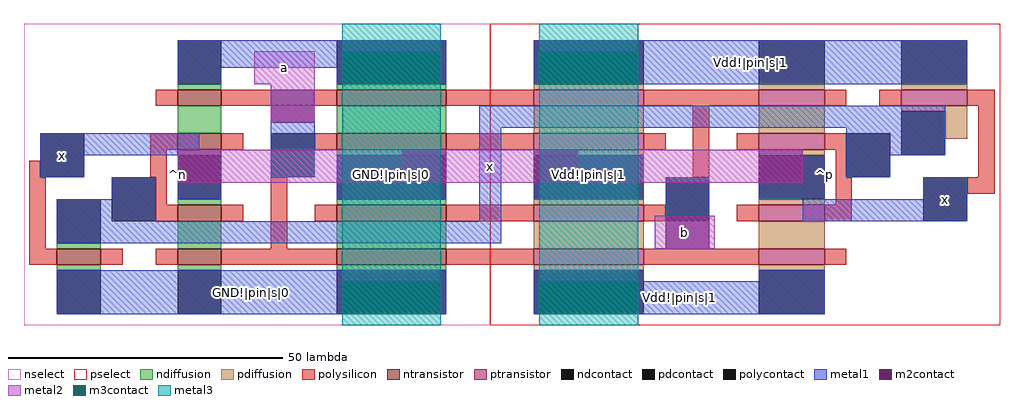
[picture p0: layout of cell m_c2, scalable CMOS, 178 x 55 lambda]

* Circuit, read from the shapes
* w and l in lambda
.subckt m_c2 GND!|pin|s|0 Vdd!|pin|s|1 a b x
M1 n1 x GND!|pin|s|0 VSUBS nfet w=8 l=3
M2 n2 a GND!|pin|s|0 VSUBS nfet w=8 l=3
M3 x n1 n2 VSUBS nfet w=8 l=3
M4 n3 n1 x VSUBS nfet w=8 l=3
M5 GND!|pin|s|0 b n3 VSUBS nfet w=8 l=3
M6 n4 a GND!|pin|s|0 VSUBS nfet w=20 l=3
M7 x b n4 VSUBS nfet w=20 l=3
M8 n5 a x VSUBS nfet w=20 l=3
M9 GND!|pin|s|0 b n5 VSUBS nfet w=20 l=3
M10 n6 a Vdd!|pin|s|1 NWELL pfet w=20 l=3
M11 x b n6 NWELL pfet w=20 l=3
M12 n7 a x NWELL pfet w=20 l=3
M13 Vdd!|pin|s|1 b n7 NWELL pfet w=20 l=3
M14 n8 a Vdd!|pin|s|1 NWELL pfet w=12 l=3
M15 x n1 n8 NWELL pfet w=12 l=3
M16 n9 n1 x NWELL pfet w=12 l=3
M17 Vdd!|pin|s|1 b n9 NWELL pfet w=12 l=3
M18 Vdd!|pin|s|1 x n1 NWELL pfet w=12 l=3
.ends

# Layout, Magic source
magic
tech scmos
<< nselect >>
rect -85 314 0 369
<< pselect >>
rect 0 314 93 369
<< ndiffusion >>
rect -57 357 -49 358
rect -28 357 -8 358
rect -57 349 -49 354
rect -28 349 -8 354
rect -57 345 -49 346
rect -57 336 -49 337
rect -28 345 -8 346
rect -79 328 -71 329
rect -57 328 -49 333
rect -28 336 -8 337
rect -28 328 -8 333
rect -79 324 -71 325
rect -57 324 -49 325
rect -28 324 -8 325
<< pdiffusion >>
rect 8 357 28 358
rect 49 357 61 358
rect 75 357 87 358
rect 8 349 28 354
rect 8 345 28 346
rect 49 349 61 354
rect 75 353 87 354
rect 8 336 28 337
rect 49 345 61 346
rect 49 336 61 337
rect 83 348 87 353
rect 8 328 28 333
rect 49 328 61 333
rect 8 324 28 325
rect 49 324 61 325
<< ntransistor >>
rect -57 354 -49 357
rect -28 354 -8 357
rect -57 346 -49 349
rect -28 346 -8 349
rect -57 333 -49 336
rect -28 333 -8 336
rect -79 325 -71 328
rect -57 325 -49 328
rect -28 325 -8 328
<< ptransistor >>
rect 8 354 28 357
rect 49 354 61 357
rect 75 354 87 357
rect 8 346 28 349
rect 49 346 61 349
rect 8 333 28 336
rect 49 333 61 336
rect 8 325 28 328
rect 49 325 61 328
<< polysilicon >>
rect -61 354 -57 357
rect -49 354 -28 357
rect -8 354 8 357
rect 28 354 49 357
rect 61 354 65 357
rect 71 354 75 357
rect 87 354 92 357
rect -84 341 -82 344
rect -62 346 -57 349
rect -49 346 -45 349
rect -62 341 -59 346
rect -84 328 -81 341
rect -61 336 -59 341
rect -32 346 -28 349
rect -8 346 8 349
rect 28 346 32 349
rect -61 333 -57 336
rect -49 333 -45 336
rect -40 328 -37 341
rect 37 341 40 354
rect 45 346 49 349
rect 61 346 65 349
rect -32 333 -28 336
rect -8 333 8 336
rect 28 333 32 336
rect 63 341 65 346
rect 89 341 92 354
rect 63 336 66 341
rect 45 333 49 336
rect 61 333 66 336
rect 87 338 92 341
rect -84 325 -79 328
rect -71 325 -67 328
rect -61 325 -57 328
rect -49 325 -28 328
rect -8 325 8 328
rect 28 325 49 328
rect 61 325 65 328
<< ndcontact >>
rect -57 358 -49 366
rect -28 358 -8 366
rect -79 329 -71 337
rect -57 337 -49 345
rect -28 337 -8 345
rect -79 316 -71 324
rect -57 316 -49 324
rect -28 316 -8 324
<< pdcontact >>
rect 8 358 28 366
rect 49 358 61 366
rect 75 358 87 366
rect 8 337 28 345
rect 49 337 61 345
rect 75 345 83 353
rect 8 316 28 324
rect 49 316 61 324
<< polycontact >>
rect -82 341 -74 349
rect -69 333 -61 341
rect -40 341 -32 349
rect 32 333 40 341
rect 65 341 73 349
rect 79 333 87 341
<< metal1 >>
rect -57 364 -8 366
rect -57 361 -27 364
rect -57 358 -49 361
rect -28 358 -27 361
rect -9 358 -8 364
rect 8 364 87 366
rect 8 358 9 364
rect 27 358 87 364
rect -82 346 -53 349
rect -82 345 -57 346
rect -82 341 -74 345
rect -69 337 -61 341
rect -40 341 -32 351
rect -2 350 83 354
rect -57 337 -49 340
rect -28 340 -16 345
rect -28 337 -8 340
rect -79 333 -61 337
rect -2 333 2 350
rect 16 340 28 345
rect 8 337 28 340
rect -79 329 2 333
rect 32 334 40 341
rect 65 345 83 350
rect 57 340 61 345
rect 65 341 73 345
rect 49 337 61 340
rect 79 337 87 341
rect 57 333 87 337
rect -79 322 -8 324
rect -79 316 -27 322
rect -9 316 -8 322
rect 8 322 28 324
rect 49 322 61 324
rect 8 316 9 322
rect 27 316 61 322
<< m2contact >>
rect -27 358 -9 364
rect 9 358 27 364
rect -40 351 -32 357
rect -57 340 -49 346
rect -16 340 -8 346
rect 8 340 16 346
rect 49 340 57 346
rect 32 328 40 334
rect -27 316 -9 322
rect 9 316 27 322
<< metal2 >>
rect -43 358 -32 364
rect -40 351 -32 358
rect -57 340 57 346
rect 30 328 41 334
<< m3contact >>
rect -27 358 -9 364
rect 9 358 27 364
rect -27 316 -9 322
rect 9 316 27 322
<< metal3 >>
rect -27 314 -9 369
rect 9 314 27 369
<< labels >>
rlabel metal1 -78 345 -78 345 3 x
rlabel metal1 83 337 83 337 5 x
rlabel metal2 -57 340 57 346 1 x
rlabel metal2 -43 358 -32 364 1 a
rlabel metal2 30 328 41 334 1 b
rlabel space -86 314 -28 369 7 ^n
rlabel space 28 314 94 369 3 ^p
rlabel metal3 -27 314 -9 369 1 GND!|pin|s|0
rlabel metal1 -57 361 -8 366 1 GND!|pin|s|0
rlabel metal1 -79 316 -8 324 1 GND!|pin|s|0
rlabel metal1 8 316 61 322 1 Vdd!|pin|s|1
rlabel metal1 8 358 87 366 1 Vdd!|pin|s|1
rlabel metal3 9 314 27 369 1 Vdd!|pin|s|1
<< end >>
